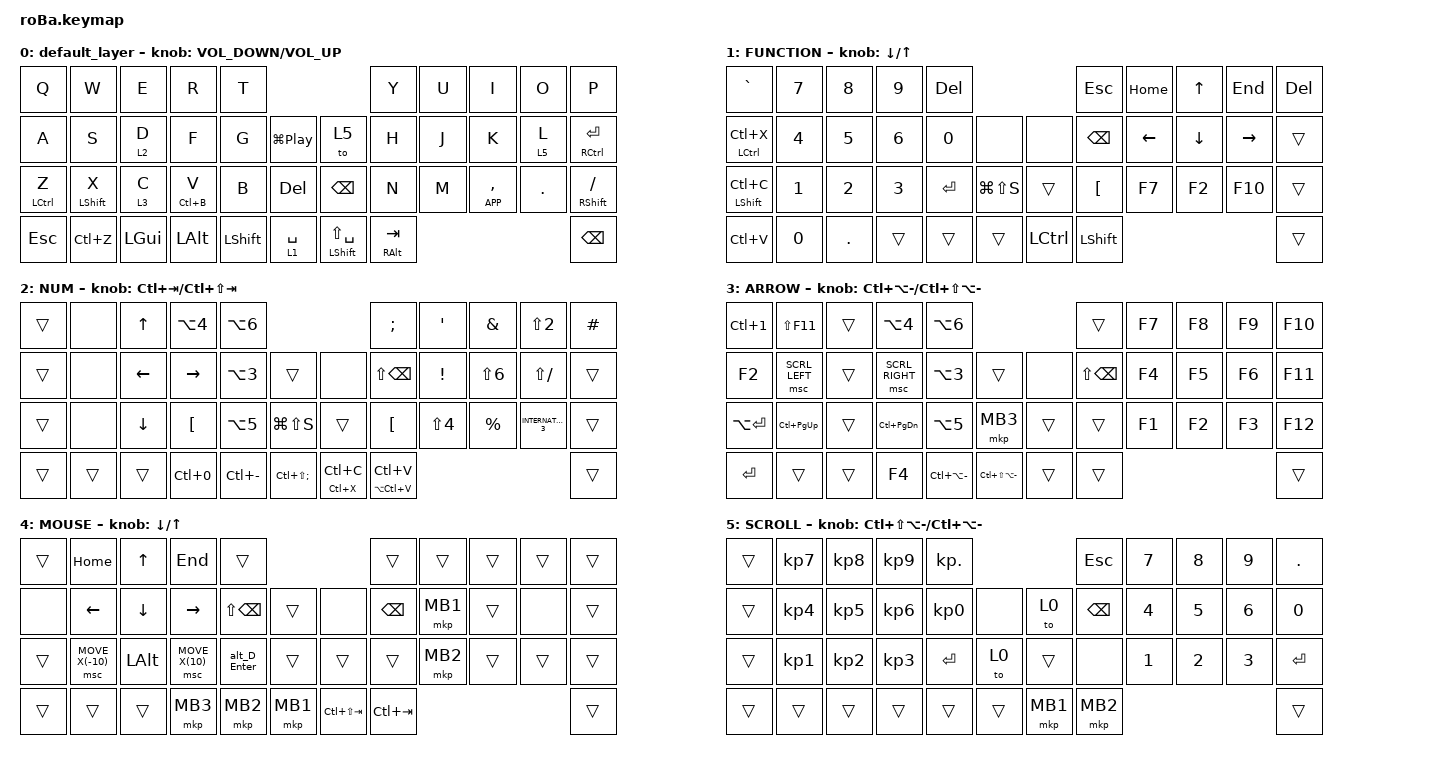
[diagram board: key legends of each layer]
#include <behaviors.dtsi>
#include <dt-bindings/zmk/keys.h>
#include <dt-bindings/zmk/pointing.h>

&mt {
    flavor = "balanced";
    quick-tap-ms = <0>;
};

&trackball {
    automouse-layer = <4>;
    scroll-layers = <5>;

    // arrows {
    //     layers = <3>;
    //     bindings =
    //         <&kp RIGHT_ARROW>,
    //         <&kp LEFT_ARROW>,
    //         <&kp UP_ARROW>,
    //         <&kp DOWN_ARROW>;
    //     tick = <10>;
    //     wait-ms = <5>;
    //     tap-ms = <5>;
    // };
};

/ {
    combos {
        compatible = "zmk,combos";

        plus {
            bindings = <&kp LS(SEMI)>;
            key-positions = <19 20>;
        };

        asta {
            bindings = <&kp LS(SQT)>;
            key-positions = <7 8>;
        };

        minus {
            bindings = <&kp MINUS>;
            key-positions = <18 19>;
        };

        lang1 {
            bindings = <&kp LANGUAGE_1>;
            key-positions = <40 19>;
        };

        lang2 {
            bindings = <&kp LANGUAGE_2>;
            key-positions = <40 18>;
        };

        undBar {
            bindings = <&kp LS(INTERNATIONAL_1)>;
            key-positions = <31 30>;
        };

        q {
            bindings = <&kp LS(FSLH)>;
            key-positions = <31 32>;
        };

        eq {
            bindings = <&kp LS(MINUS)>;
            key-positions = <6 7>;
        };

        kakko {
            bindings = <&kp LS(N8)>;
            key-positions = <11 13 12>;
        };

        kakkotoji {
            bindings = <&kp LS(N9)>;
            key-positions = <18 20 19>;
        };

        kakkojp {
            bindings = <&kp RBKT>;
            key-positions = <11 13>;
        };

        kakkotojijp {
            bindings = <&kp BSLH>;
            key-positions = <18 20>;
        };

        henkan {
            bindings = <&kp INTERNATIONAL_4>;
            key-positions = <38 41>;
        };

        lang23 {
            bindings = <&kp LANGUAGE_2>;
            key-positions = <39 14>;
        };

        eq2 {
            bindings = <&kp LS(MINUS)>;
            key-positions = <2 3>;
        };

        lang13 {
            bindings = <&kp LANG1>;
            key-positions = <39 12>;
        };

        minuslefg {
            bindings = <&kp MINUS>;
            key-positions = <25 24>;
        };

        plusleft {
            bindings = <&kp LS(SEMICOLON)>;
            key-positions = <24 23>;
        };

        tab {
            bindings = <&kp TAB>;
            key-positions = <12 13>;
        };

        mb1 {
            bindings = <&mkp MB1>;
            key-positions = <12 11>;
        };

        asta2 {
            bindings = <&kp LS(SQT)>;
            key-positions = <1 2>;
        };

        kakkotoji2 {
            bindings = <&kp LS(N9)>;
            key-positions = <25 23>;
        };

        kakkotojijp2 {
            bindings = <&kp BSLH>;
            key-positions = <23 25 24>;
        };

        fwslash {
            bindings = <&kp FSLH>;
            key-positions = <39 22>;
        };

        langgg {
            bindings = <&kp GRAVE>;
            key-positions = <39 13>;
        };
    };

    macros {
        to_layer_0: to_layer_0 {
            compatible = "zmk,behavior-macro-one-param";
            #binding-cells = <1>;
            bindings = <&to 0 &macro_param_1to1 &kp MACRO_PLACEHOLDER>;
            label = "TO_LAYER_0";
        };

        alt_D_Enter: alt_D_Enter {
            compatible = "zmk,behavior-macro";
            #binding-cells = <0>;
            bindings =
                <&macro_press>,
                <&kp LEFT_ALT &kp D &kp ENTER>,
                <&macro_release>,
                <&kp LEFT_ALT &kp D &kp ENTER>;

            label = "ALT_D_ENTER";
        };
    };

    behaviors {
        lt_to_layer_0: lt_to_layer_0 {
            compatible = "zmk,behavior-hold-tap";
            label = "LAYER_TAP_TO_0";
            bindings = <&mo>, <&to_layer_0>;

            #binding-cells = <2>;
            tapping-term-ms = <240>;
        };
    };

    keymap {
        compatible = "zmk,keymap";

        default_layer {
            bindings = <
&kp Q        &kp W        &kp E         &kp R        &kp T                                             &kp Y         &kp U  &kp I            &kp O       &kp P
&kp A        &kp S        &lt 2 D       &kp F        &kp G      &kp LG(C_PP)      &to 5                &kp H         &kp J  &kp K            &lt 5 L     &mt RCTRL ENTER
&mt LCTRL Z  &mt LSHFT X  &lt 3 C       &mt LC(B) V  &kp B      &kp DEL           &kp BACKSPACE        &kp N         &kp M  &mt K_APP COMMA  &kp PERIOD  &mt RIGHT_SHIFT FSLH
&kp ESCAPE   &kp LC(Z)    &kp LEFT_GUI  &kp LALT     &kp LSHFT  &lt 1 SPACE       &mt LSHFT LS(SPACE)  &mt RALT TAB                                      &kp BACKSPACE
            >;

            sensor-bindings = <&inc_dec_kp C_VOLUME_DOWN C_VOLUME_UP>;
        };

        FUNCTION {
            bindings = <
&kp GRAVE        &kp N7  &kp N8   &kp N9  &kp DEL                                     &kp ESCAPE        &kp HOME        &kp UP_ARROW    &kp END          &kp DELETE
&mt LCTRL LC(X)  &kp N4  &kp N5   &kp N6  &kp NUMBER_0  &none              &none      &kp BACKSPACE     &kp LEFT_ARROW  &kp DOWN_ARROW  &kp RIGHT_ARROW  &trans
&mt LSHFT LC(C)  &kp N1  &kp N2   &kp N3  &kp ENTER     &kp LG(LS(S))      &trans     &kp LEFT_BRACKET  &kp F7          &kp F2          &kp F10          &trans
&kp LC(V)        &kp N0  &kp DOT  &trans  &trans        &trans             &kp LCTRL  &kp LSHFT                                                          &trans
            >;

            sensor-bindings = <&inc_dec_kp DOWN_ARROW UP_ARROW>;
        };

        NUM {
            bindings = <
&trans  &none   &kp UP_ARROW    &kp LA(NUMBER_4)  &kp LA(NUMBER_6)                                         &kp SEMI             &kp SQT     &kp AMPS    &kp LS(N2)           &kp HASH
&trans  &none   &kp LEFT_ARROW  &kp RIGHT_ARROW   &kp LA(NUMBER_3)  &trans                &none            &kp LS(BACKSPACE)    &kp EXCL    &kp LS(N6)  &kp LS(FSLH)         &trans
&trans  &none   &kp DOWN_ARROW  &kp LBKT          &kp LA(NUMBER_5)  &kp LG(LS(S))         &trans           &kp LEFT_BRACKET     &kp LS(N4)  &kp PRCNT   &kp INTERNATIONAL_3  &trans
&trans  &trans  &trans          &kp LC(N0)        &kp LC(MINUS)     &kp LC(LS(SEMI))      &mt LC(X) LC(C)  &mt LA(LC(V)) LC(V)                                               &trans
            >;

            sensor-bindings = <&inc_dec_kp LC(TAB) LC(LS(TAB))>;
        };

        ARROW {
            bindings = <
&kp LC(NUMBER_1)  &kp LS(F11)     &trans  &kp LA(NUMBER_4)   &kp LA(NUMBER_6)                                      &trans             &kp F7  &kp F8  &kp F9  &kp F10
&kp F2            &msc SCRL_LEFT  &trans  &msc SCRL_RIGHT    &kp LA(NUMBER_3)   &trans                     &none   &kp LS(BACKSPACE)  &kp F4  &kp F5  &kp F6  &kp F11
&kp LA(ENTER)     &kp LC(PG_UP)   &trans  &kp LC(PAGE_DOWN)  &kp LA(NUMBER_5)   &mkp MB3                   &trans  &trans             &kp F1  &kp F2  &kp F3  &kp F12
&kp ENTER         &trans          &trans  &kp F4             &kp LC(LA(MINUS))  &kp LC(LS(LA(MINUS)))      &trans  &trans                                     &trans
            >;

            sensor-bindings = <&inc_dec_kp LC(LA(MINUS)) LC(LS(LA(MINUS)))>;
        };

        MOUSE {
            bindings = <
&trans  &kp HOME          &kp UP_ARROW    &kp END          &trans                                            &trans         &trans    &trans  &trans  &trans
&none   &kp LEFT_ARROW    &kp DOWN_ARROW  &kp RIGHT_ARROW  &kp LS(BACKSPACE)  &trans        &none            &kp BACKSPACE  &mkp MB1  &trans  &none   &trans
&trans  &msc MOVE_X(-10)  &kp LALT        &msc MOVE_X(10)  &alt_D_Enter       &trans        &trans           &trans         &mkp MB2  &trans  &trans  &trans
&trans  &trans            &trans          &mkp MB3         &mkp MB2           &mkp MB1      &kp LC(LS(TAB))  &kp LC(TAB)                              &trans
            >;

            sensor-bindings = <&inc_dec_kp DOWN_ARROW UP_ARROW>;
        };

        SCROLL {
            bindings = <
&trans  &kp KP_NUMBER_7  &kp KP_NUMBER_8  &kp KP_NUMBER_9  &kp KP_DOT                             &kp ESC        &kp N7  &kp N8  &kp N9  &kp DOT
&trans  &kp KP_NUMBER_4  &kp KP_NUMBER_5  &kp KP_NUMBER_6  &kp KP_NUMBER_0  &none       &to 0     &kp BACKSPACE  &kp N4  &kp N5  &kp N6  &kp N0
&trans  &kp KP_NUMBER_1  &kp KP_NUMBER_2  &kp KP_N3        &kp ENTER        &to 0       &trans    &none          &kp N1  &kp N2  &kp N3  &kp ENTER
&trans  &trans           &trans           &trans           &trans           &trans      &mkp MB1  &mkp MB2                               &trans
            >;

            sensor-bindings = <&inc_dec_kp LC(LS(LA(MINUS))) LC(LA(MINUS))>;
        };
    };
};
